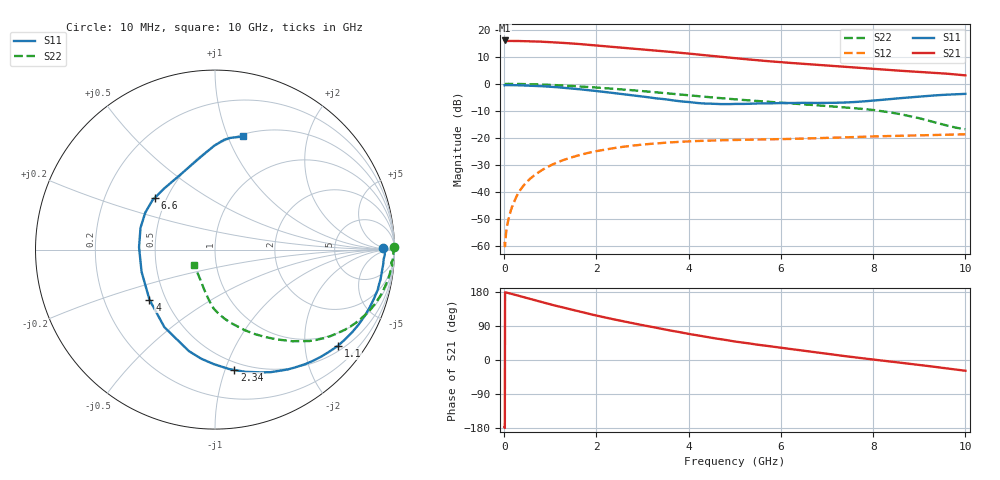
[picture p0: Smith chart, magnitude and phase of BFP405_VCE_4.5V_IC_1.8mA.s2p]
! Infineon Technologies  Discrete & RF Semiconductors
! BFP405
! VCE =  4.5 V,  IC =  1.8 mA
! Common Emitter S-Parameters:  Jan 2016
# GHz  S  MA  R  50
!  f  S11  S21  S12  S22
! GHz  MAG  ANG  MAG  ANG  MAG  ANG  MAG  ANG
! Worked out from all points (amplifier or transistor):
!   233 points, 10 MHz to 10 GHz, reference 50 ohm
!   highest |S21| = 16.0 dB at 10 MHz (marker M1)
!   |S21| within 3 dB of that: start of sweep to 2.801 GHz
!   unconditionally stable (mu >= 1): 4.586 GHz to end of sweep
!   at 200 MHz: K = 0.14, MSG = 30.0 dB, |S12| = -44.3 dB
!   at 1.74 GHz: K = 0.29, MSG = 20.2 dB, |S12| = -25.9 dB
!   at 10 GHz: K = 1.71, MAG = 6.0 dB, |S12| = -18.7 dB
!   S11 on the Smith chart (normalised r, x): 10 MHz: 30, +5; 1.1 GHz: 0.63, -2.77; 2.34 GHz: 0.43, -1.08; 4 GHz: 0.41, -0.29; 6.6 GHz: 0.43, +0.31; 10 GHz: 0.52, +1.14
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0.01  0.937 0.6  6.295 -177.5  0.0012 0.1  1 0.9
0.02  0.9448 -0.3  6.188 178.7  0.001 47.7  0.9902 0.2
0.06  0.9453 -2.0  6.152 177.9  0.0023 67.6  0.9941 -0.7
0.12  0.9408 -4.0  6.167 175.7  0.0039 77.0  0.9932 -1.9
0.32  0.9357 -11.0  6.14 169.4  0.01 80.7  0.9897 -5.4
0.5  0.9269 -17.2  6.107 163.4  0.0156 78.9  0.9818 -8.4
0.78  0.9038 -27.0  5.986 154.2  0.0242 74.6  0.9671 -13.1
1.1  0.8696 -38.1  5.813 143.8  0.0337 69.2  0.9437 -18.4
1.4  0.8268 -48.4  5.587 134.5  0.0421 63.9  0.9156 -23.1
1.68  0.784 -58.0  5.363 126.3  0.0493 59.0  0.886 -27.2
2  0.7324 -69.1  5.093 117.3  0.0569 53.7  0.8504 -31.7
2.34  0.6789 -80.9  4.809 108.3  0.0639 48.3  0.8103 -36.1
2.8  0.6124 -97.3  4.457 96.8  0.0722 41.5  0.7553 -41.8
3.4  0.5249 -119.0  4.013 82.5  0.0804 33.2  0.6804 -48.6
4  0.4595 -142.6  3.607 68.9  0.0864 25.8  0.61 -55.2
4.5  0.4274 -163.2  3.277 58.4  0.0896 20.6  0.5591 -60.4
5.1  0.423 175.3  2.915 47.2  0.092 15.4  0.5076 -66.2
6.6  0.4423 139.1  2.293 22.8  0.0976 7.0  0.4106 -78.8
6.8  0.441 134.4  2.225 19.6  0.0987 6.0  0.3987 -80.5
7.6  0.4593 115.1  1.983 7.1  0.1037 2.0  0.353 -87.5
8.4  0.5233 98.6  1.779 -4.4  0.1084 -2.5  0.2926 -95.6
10  0.6498 76.0  1.426 -28.4  0.1164 -10.4  0.1441 -143.6
